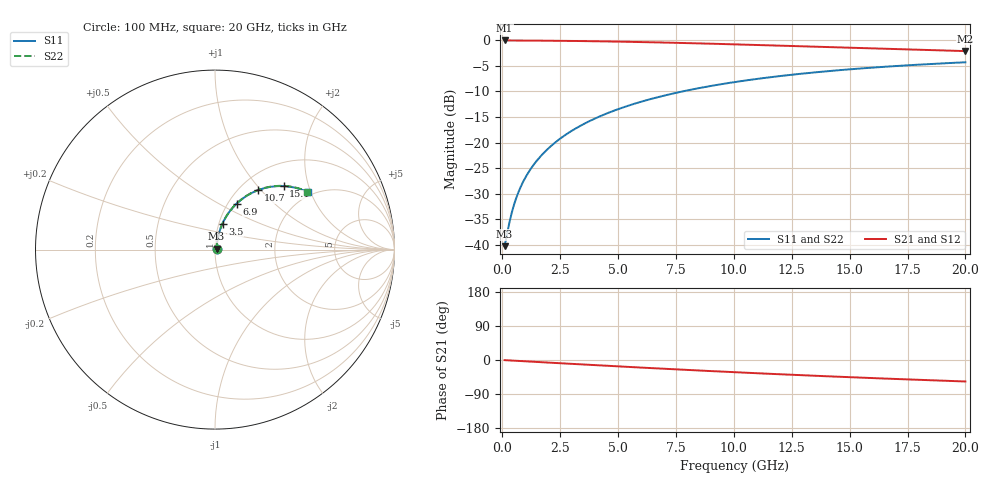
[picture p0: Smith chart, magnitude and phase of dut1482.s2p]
! Touchstone file exported from HFSS 2026.1.0
!  File:  C:/ffzhzh/LocalFiles/Ansys_Project_Files/temp_train_TMRDL_1482_1783167724_55132.aedt
!  Generated:  08:23:38 PM Jul  4, 2026
!  Design:  TMRDL
!  Project:  temp_train_TMRDL_1482_1783167724_55132
! Variables:
!  h_bsmrdl = 2um
!  h_ox = 20um
!  h_rdl = 5um
!  h_sub = 80um
!  h_tmrdl = 2.19um
!  h_tsv = 80um
!  h_via = 3um
!  l_bsmrdl = 300um
!  l_sub = 1177.59um
!  l_tmrdl = 777.59um
!  m_sub = 200um
!  pitch = 56.51um
!  r_tsv = 6um
!  s_tmrdl = 10um
!  w_bsmrdl = 18um
!  w_sub = 500um
!  w_tmrdl = 14.65um
!  x_tsv_center1 = 784.915um
!  x_tsv_center2 = 1102.915um
!  x_tsv_center3 = 1895.155um
!  x_tsv_center4 = 2213.155um
!  x_tsv_center5 = 3005.395um
!  x_tsv_center6 = 3323.395um
# GHz S MA R 50.000000
! Terminal data exported
! Port[1] = TM_RDL1_1_T1
! Port[2] = TM_RDL1_1_T2
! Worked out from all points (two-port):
!   200 points, 100 MHz to 20 GHz, reference 50 ohm
!   highest |S21| = -0.08 dB at 100 MHz (marker M1); lowest = -2.2 dB at 20 GHz (marker M2)
!   |S21| within 3 dB of the highest: start of sweep to end of sweep
!   lowest |S11| = -40.2 dB at 100 MHz (marker M3), VSWR 1.02, Z = 50.9 + j0.463 ohm
!   |S11| at or under -10 dB: start of sweep to 7.802 GHz
!   |S22| runs from -40.2 to -4.3 dB; largest |S21 - S12| = 1.4e-14
!   S11 on the Smith chart (normalised r, x): 100 MHz: 1.02, +0.01; 3.5 GHz: 1.04, +0.31; 6.9 GHz: 1.10, +0.61; 10.7 GHz: 1.21, +0.96; 15.1 GHz: 1.44, +1.39; 20 GHz: 1.87, +1.90
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0.1  0.009766 27.8  0.9914 -0.4  0.9914 -0.4  0.009766 27.8
! Gamma 0 0 0 0
! Port Impedance 50 0 50 0
0.3  0.01633 56.3  0.9911 -1.1  0.9911 -1.1  0.01633 56.3
0.4  0.02034 62.5  0.9909 -1.4  0.9909 -1.4  0.02034 62.5
0.6  0.02871 69.1  0.9904 -2.1  0.9904 -2.1  0.02871 69.1
0.7  0.03295 70.9  0.9901 -2.5  0.9901 -2.5  0.03295 71.0
0.9  0.04146 73.3  0.9895 -3.1  0.9895 -3.1  0.04145 73.4
1.2  0.05421 75.2  0.9886 -4.2  0.9886 -4.2  0.05421 75.2
1.7  0.07546 76.3  0.9869 -5.8  0.9869 -5.8  0.07546 76.3
2.2  0.09666 76.2  0.9848 -7.5  0.9848 -7.5  0.09666 76.2
2.8  0.1219 75.4  0.9819 -9.5  0.9819 -9.5  0.1219 75.4
3.5  0.1511 73.9  0.9776 -11.9  0.9776 -11.9  0.1511 74.0
4.2  0.1798 72.2  0.9727 -14.2  0.9727 -14.2  0.1798 72.3
5  0.2118 70.1  0.9661 -16.8  0.9661 -16.8  0.2118 70.2
6.8  0.2804 65.0  0.9482 -22.5  0.9482 -22.5  0.2804 65.1
6.9  0.2841 64.7  0.9471 -22.9  0.9471 -22.9  0.284 64.8
8.4  0.3367 60.4  0.9294 -27.4  0.9294 -27.4  0.3367 60.6
10.1  0.3913 55.7  0.9076 -32.4  0.9076 -32.4  0.3913 55.8
10.7  0.4093 54.0  0.8997 -34.1  0.8997 -34.1  0.4093 54.2
13.4  0.4817 47.0  0.863 -41.3  0.863 -41.3  0.4816 47.2
15.1  0.5205 42.8  0.8403 -45.6  0.8403 -45.6  0.5205 43.0
16.7  0.5527 39.1  0.8196 -49.4  0.8196 -49.4  0.5526 39.3
20  0.6071 31.9  0.7806 -56.7  0.7806 -56.7  0.6071 32.2
